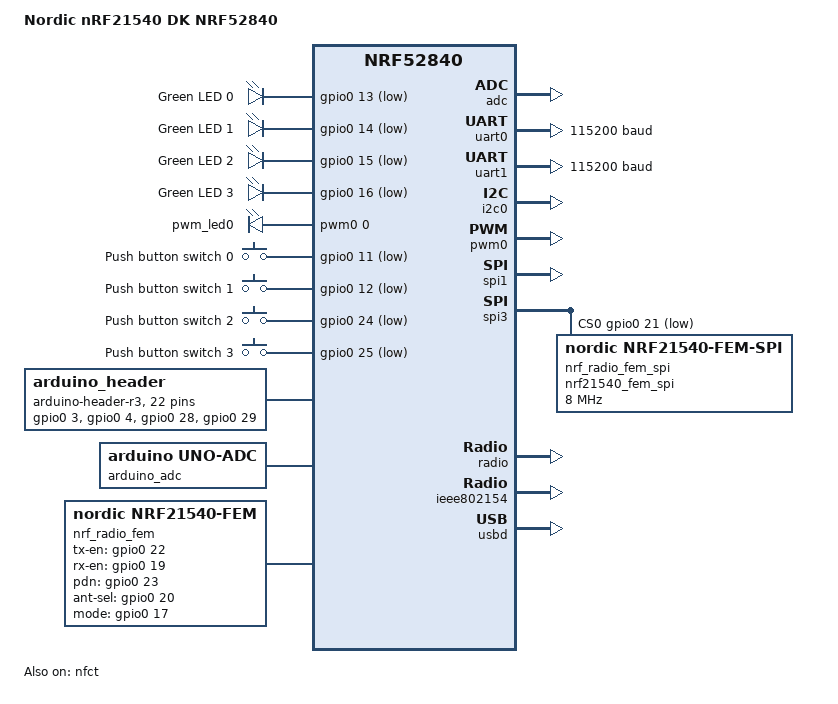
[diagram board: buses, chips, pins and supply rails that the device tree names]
/*
 * Copyright (c) 2020 Nordic Semiconductor ASA
 * Copyright (c) 2017 Linaro Limited
 *
 * SPDX-License-Identifier: Apache-2.0
 */

/dts-v1/;
#include <nordic/nrf52840_qiaa.dtsi>
#include "nrf21540dk_nrf52840-pinctrl.dtsi"
#include <zephyr/dt-bindings/gpio/arduino-header-r3.h>
#include <zephyr/dt-bindings/input/input-event-codes.h>

/ {
	model = "Nordic nRF21540 DK NRF52840";
	compatible = "nordic,nrf21540-dk-nrf52840";

	chosen {
		zephyr,console = &uart0;
		zephyr,shell-uart = &uart0;
		zephyr,uart-mcumgr = &uart0;
		zephyr,bt-mon-uart = &uart0;
		zephyr,bt-c2h-uart = &uart0;
		zephyr,sram = &sram0;
		zephyr,flash = &flash0;
		zephyr,code-partition = &slot0_partition;
		zephyr,ieee802154 = &ieee802154;
	};

	leds {
		compatible = "gpio-leds";

		led0: led_0 {
			gpios = <&gpio0 13 GPIO_ACTIVE_LOW>;
			label = "Green LED 0";
		};

		led1: led_1 {
			gpios = <&gpio0 14 GPIO_ACTIVE_LOW>;
			label = "Green LED 1";
		};

		led2: led_2 {
			gpios = <&gpio0 15 GPIO_ACTIVE_LOW>;
			label = "Green LED 2";
		};

		led3: led_3 {
			gpios = <&gpio0 16 GPIO_ACTIVE_LOW>;
			label = "Green LED 3";
		};
	};

	pwmleds {
		compatible = "pwm-leds";

		pwm_led0: pwm_led_0 {
			pwms = <&pwm0 0 PWM_MSEC(20) PWM_POLARITY_INVERTED>;
		};
	};

	buttons {
		compatible = "gpio-keys";

		button0: button_0 {
			gpios = <&gpio0 11 (GPIO_PULL_UP | GPIO_ACTIVE_LOW)>;
			label = "Push button switch 0";
			zephyr,code = <INPUT_KEY_0>;
		};

		button1: button_1 {
			gpios = <&gpio0 12 (GPIO_PULL_UP | GPIO_ACTIVE_LOW)>;
			label = "Push button switch 1";
			zephyr,code = <INPUT_KEY_1>;
		};

		button2: button_2 {
			gpios = <&gpio0 24 (GPIO_PULL_UP | GPIO_ACTIVE_LOW)>;
			label = "Push button switch 2";
			zephyr,code = <INPUT_KEY_2>;
		};

		button3: button_3 {
			gpios = <&gpio0 25 (GPIO_PULL_UP | GPIO_ACTIVE_LOW)>;
			label = "Push button switch 3";
			zephyr,code = <INPUT_KEY_3>;
		};
	};

	arduino_header: connector {
		compatible = "arduino-header-r3";
		#gpio-cells = <2>;
		gpio-map-mask = <0xffffffff 0xffffffc0>;
		gpio-map-pass-thru = <0 0x3f>;
		gpio-map = <ARDUINO_HEADER_R3_A0 0 &gpio0 3 0>,
			   <ARDUINO_HEADER_R3_A1 0 &gpio0 4 0>,
			   <ARDUINO_HEADER_R3_A2 0 &gpio0 28 0>,
			   <ARDUINO_HEADER_R3_A3 0 &gpio0 29 0>,
			   <ARDUINO_HEADER_R3_A4 0 &gpio0 30 0>,
			   <ARDUINO_HEADER_R3_A5 0 &gpio0 31 0>,
			   <ARDUINO_HEADER_R3_D0 0 &gpio1 1 0>,
			   <ARDUINO_HEADER_R3_D1 0 &gpio1 2 0>,
			   <ARDUINO_HEADER_R3_D2 0 &gpio1 3 0>,
			   <ARDUINO_HEADER_R3_D3 0 &gpio1 4 0>,
			   <ARDUINO_HEADER_R3_D4 0 &gpio1 5 0>,
			   <ARDUINO_HEADER_R3_D5 0 &gpio1 6 0>,
			   <ARDUINO_HEADER_R3_D6 0 &gpio1 7 0>,
			   <ARDUINO_HEADER_R3_D7 0 &gpio1 8 0>,
			   <ARDUINO_HEADER_R3_D8 0 &gpio1 10 0>,
			   <ARDUINO_HEADER_R3_D9 0 &gpio1 11 0>,
			   <ARDUINO_HEADER_R3_D10 0 &gpio1 12 0>,
			   <ARDUINO_HEADER_R3_D11 0 &gpio1 13 0>,
			   <ARDUINO_HEADER_R3_D12 0 &gpio1 14 0>,
			   <ARDUINO_HEADER_R3_D13 0 &gpio1 15 0>,
			   <ARDUINO_HEADER_R3_D14 0 &gpio0 26 0>,
			   <ARDUINO_HEADER_R3_D15 0 &gpio0 27 0>;
	};

	arduino_adc: analog-connector {
		compatible = "arduino,uno-adc";
		#io-channel-cells = <1>;
		io-channel-map = <0 &adc 1>,	/* A0 = P0.3 = AIN1 */
				 <1 &adc 2>,	/* A1 = P0.4 = AIN2 */
				 <2 &adc 4>,	/* A2 = P0.28 = AIN4 */
				 <3 &adc 5>,	/* A3 = P0.29 = AIN5 */
				 <4 &adc 6>,	/* A4 = P0.30 = AIN6 */
				 <5 &adc 7>;	/* A5 = P0.31 = AIN7 */
	};

	nrf_radio_fem: nrf21540_fem {
		compatible = "nordic,nrf21540-fem";
		tx-en-gpios = <&gpio0 22 GPIO_ACTIVE_HIGH>;
		rx-en-gpios = <&gpio0 19 GPIO_ACTIVE_HIGH>;
		pdn-gpios = <&gpio0 23 GPIO_ACTIVE_HIGH>;
		ant-sel-gpios = <&gpio0 20 GPIO_ACTIVE_HIGH>;
		mode-gpios = <&gpio0 17 GPIO_ACTIVE_HIGH>;
		spi-if = <&nrf_radio_fem_spi>;
		supply-voltage-mv = <3000>;
	};

	/* These aliases are provided for compatibility with samples */
	aliases {
		led0 = &led0;
		led1 = &led1;
		led2 = &led2;
		led3 = &led3;
		pwm-led0 = &pwm_led0;
		sw0 = &button0;
		sw1 = &button1;
		sw2 = &button2;
		sw3 = &button3;
		mcuboot-button0 = &button0;
		mcuboot-led0 = &led0;
		watchdog0 = &wdt0;
	};
};

&reg1 {
	regulator-initial-mode = <NRF5X_REG_MODE_DCDC>;
};

&adc {
	status = "okay";
};

&uicr {
	gpio-as-nreset;
};

&nfct {
	status = "okay";
};

&gpiote {
	status = "okay";
};

&gpio0 {
	status = "okay";
};

&gpio1 {
	status = "okay";
};

&uart0 {
	compatible = "nordic,nrf-uarte";
	status = "okay";
	current-speed = <115200>;
	pinctrl-0 = <&uart0_default>;
	pinctrl-1 = <&uart0_sleep>;
	pinctrl-names = "default", "sleep";
};

arduino_serial: &uart1 {
	current-speed = <115200>;
	pinctrl-0 = <&uart1_default>;
	pinctrl-1 = <&uart1_sleep>;
	pinctrl-names = "default", "sleep";
};

arduino_i2c: &i2c0 {
	compatible = "nordic,nrf-twi";
	status = "okay";
	pinctrl-0 = <&i2c0_default>;
	pinctrl-1 = <&i2c0_sleep>;
	pinctrl-names = "default", "sleep";
};

&i2c1 {
	compatible = "nordic,nrf-twi";
	/* Cannot be used together with spi1. */
	/* status = "okay"; */
	pinctrl-0 = <&i2c1_default>;
	pinctrl-1 = <&i2c1_sleep>;
	pinctrl-names = "default", "sleep";
};

&pwm0 {
	status = "okay";
	pinctrl-0 = <&pwm0_default>;
	pinctrl-1 = <&pwm0_sleep>;
	pinctrl-names = "default", "sleep";
};

&spi0 {
	compatible = "nordic,nrf-spi";
	/* Cannot be used together with i2c0. */
	/* status = "okay"; */
	pinctrl-0 = <&spi0_default>;
	pinctrl-1 = <&spi0_sleep>;
	pinctrl-names = "default", "sleep";
};

&spi1 {
	compatible = "nordic,nrf-spi";
	status = "okay";
	pinctrl-0 = <&spi1_default>;
	pinctrl-1 = <&spi1_sleep>;
	pinctrl-names = "default", "sleep";
};

&spi2 {
	compatible = "nordic,nrf-spi";
	status = "disabled";
	pinctrl-0 = <&spi2_default>;
	pinctrl-1 = <&spi2_sleep>;
	pinctrl-names = "default", "sleep";
};

fem_spi: &spi3 {
	status = "okay";
	cs-gpios = <&gpio0 21 GPIO_ACTIVE_LOW>;
	pinctrl-0 = <&spi3_default>;
	pinctrl-1 = <&spi3_sleep>;
	pinctrl-names = "default", "sleep";

	nrf_radio_fem_spi: nrf21540_fem_spi@0 {
		compatible = "nordic,nrf21540-fem-spi";
		status = "okay";
		reg = <0>;
		spi-max-frequency = <8000000>;
	};
};

&radio {
	fem = <&nrf_radio_fem>;
};

&ieee802154 {
	status = "okay";
};

&flash0 {
	partitions {
		compatible = "fixed-partitions";
		#address-cells = <1>;
		#size-cells = <1>;

		boot_partition: partition@0 {
			label = "mcuboot";
			reg = <0x00000000 0x0000C000>;
		};

		slot0_partition: partition@c000 {
			label = "image-0";
			reg = <0x0000C000 0x00076000>;
		};

		slot1_partition: partition@82000 {
			label = "image-1";
			reg = <0x00082000 0x00076000>;
		};

		/*
		 * The flash starting at 0x000f8000 and ending at
		 * 0x000fffff is reserved for use by the application.
		 */

		/*
		 * Storage partition will be used by FCB/LittleFS/NVS
		 * if enabled.
		 */
		storage_partition: partition@f8000 {
			label = "storage";
			reg = <0x000f8000 0x00008000>;
		};
	};
};

zephyr_udc0: &usbd {
	compatible = "nordic,nrf-usbd";
	status = "okay";
};
